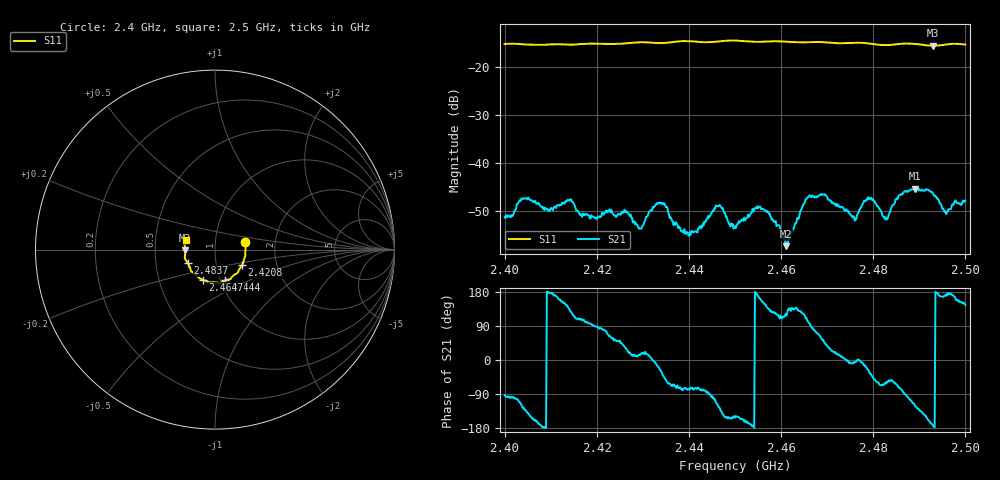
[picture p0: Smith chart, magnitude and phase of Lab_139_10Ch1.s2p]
# Hz S RI R 50
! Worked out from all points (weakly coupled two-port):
!   601 points, 2.4 GHz to 2.5 GHz, reference 50 ohm
!   highest |S21| = -45.43 dB at 2.489 GHz (marker M1); lowest = -57.4 dB at 2.461 GHz (marker M2)
!   lowest |S11| = -15.6 dB at 2.493 GHz (marker M3), VSWR 1.40, Z = 35.8 - j0.236 ohm
!   |S11| at or under -10 dB: start of sweep to end of sweep
!   S12 and S22 are empty: the file has one direction only
!   S11 on the Smith chart (normalised r, x): 2.4 GHz: 1.40, +0.12; 2.4208 GHz: 1.33, -0.24; 2.444 GHz: 1.06, -0.37; 2.4647 GHz: 0.83, -0.29; 2.4837 GHz: 0.73, -0.11; 2.5 GHz: 0.72, +0.08
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2.4e9  0.168 0.0409  -0.000109 -0.00268  0 0  0 0
2.404167e9  0.1707 0.0162  -0.00247 -0.00337  0 0  0 0
2.416667e9  0.1588 -0.0681  -0.000792 0.00271  0 0  0 0
2.420833e9  0.1508 -0.0872  0.000254 0.00269  0 0  0 0
2.4295e9  0.1261 -0.129  0.00199 0.000487  0 0  0 0
2.433333e9  0.1078 -0.1401  0.00356 -0.00118  0 0  0 0
2.439667e9  0.083 -0.1656  0.000382 -0.00183  0 0  0 0
2.444e9  0.0582 -0.1707  0.000283 -0.00258  0 0  0 0
2.446333e9  0.0411 -0.1792  -0.00187 -0.00296  0 0  0 0
2.45e9  0.0246 -0.1865  -0.00192 -0.00101  0 0  0 0
2.455333e9  -0.0095 -0.182  -0.00332 0.00102  0 0  0 0
2.461e9  -0.0407 -0.1784  -0.00071 0.00114  0 0  0 0
2.464667e9  -0.0673 -0.1669  -0.00189 0.00294  0 0  0 0
2.466667e9  -0.0801 -0.1628  0.000384 0.00445  0 0  0 0
2.475833e9  -0.1269 -0.1246  0.0027 -0.000283  0 0  0 0
2.479333e9  -0.1366 -0.108  0.00347 -0.00251  0 0  0 0
2.483333e9  -0.1504 -0.0763  0.00166 -0.00226  0 0  0 0
2.483667e9  -0.1522 -0.0733  0.00171 -0.00257  0 0  0 0
2.489e9  -0.1679 -0.043  -0.00264 -0.00466  0 0  0 0
2.493e9  -0.166 -0.00321  -0.00472 -0.000457  0 0  0 0
2.495667e9  -0.1691 0.023  -0.00307 0.000544  0 0  0 0
2.5e9  -0.1625 0.0525  -0.0033 0.0023  0 0  0 0
